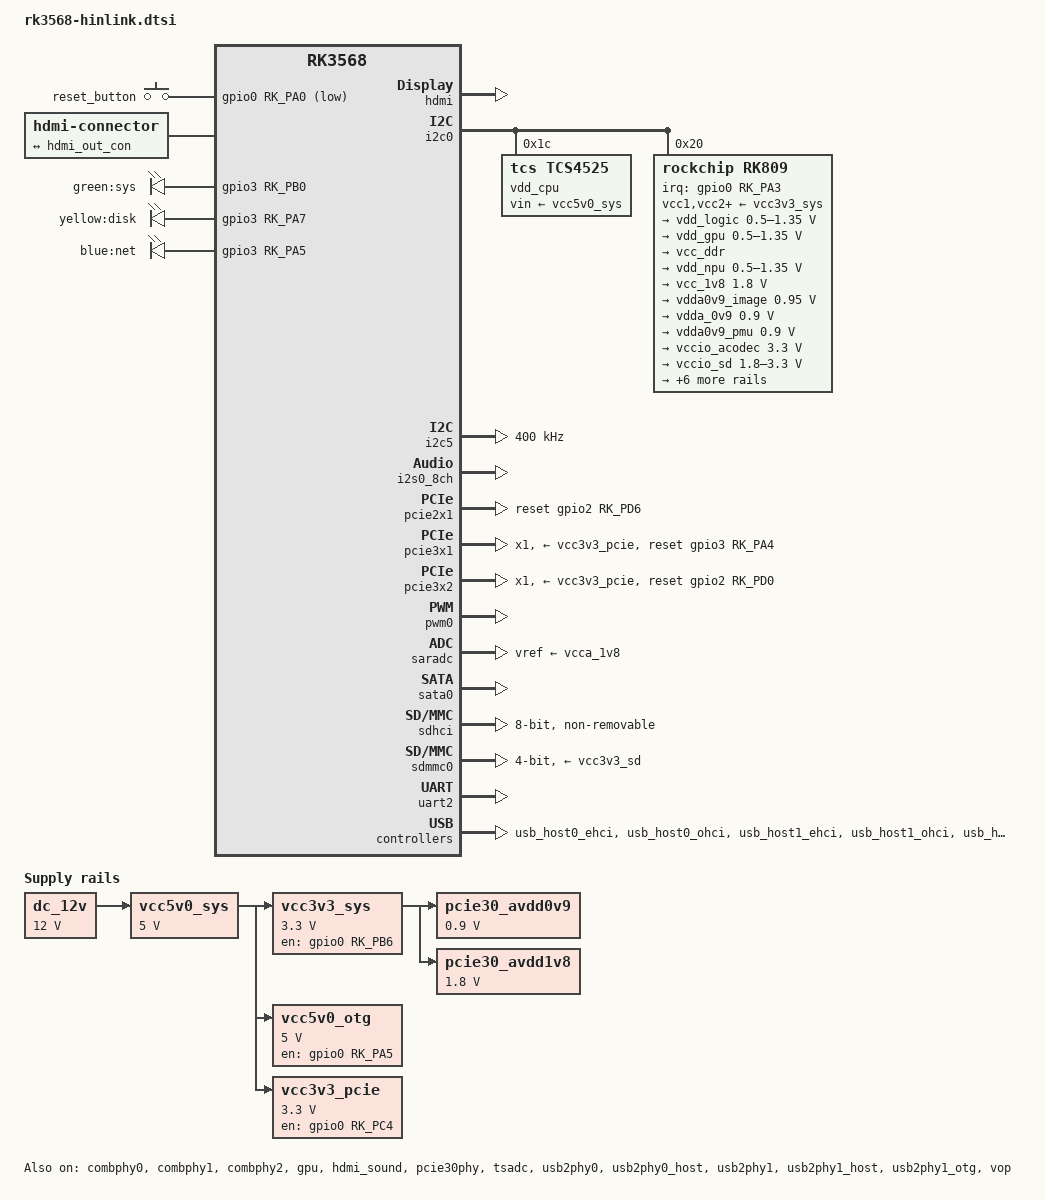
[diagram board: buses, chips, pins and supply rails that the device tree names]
// SPDX-License-Identifier: GPL-2.0-or-later OR MIT
/*
 * Copyright (c) 2020 Rockchip Electronics Co., Ltd.
 *
 */

/dts-v1/;
#include <dt-bindings/gpio/gpio.h>
#include <dt-bindings/input/input.h>
#include <dt-bindings/leds/common.h>
#include <dt-bindings/pinctrl/rockchip.h>
#include <dt-bindings/soc/rockchip,vop2.h>
#include <rockchip/rk3568.dtsi>
#include "rk3568-ip.dtsi"

/ {
	aliases {
		mmc0 = &sdmmc0;
		mmc1 = &sdhci;

		led-boot = &led_green;
		led-failsafe = &led_green;
		led-running = &led_green;
		led-upgrade = &led_green;
	};

	chosen: chosen {
		stdout-path = "serial2:1500000n8";
	};

	dc_12v: dc-12v {
		compatible = "regulator-fixed";
		regulator-name = "dc_12v";
		regulator-always-on;
		regulator-boot-on;
		regulator-min-microvolt = <12000000>;
		regulator-max-microvolt = <12000000>;
	};

	vcc5v0_sys: vcc5v0-sys {
		compatible = "regulator-fixed";
		regulator-name = "vcc5v0_sys";
		regulator-always-on;
		regulator-boot-on;
		regulator-min-microvolt = <5000000>;
		regulator-max-microvolt = <5000000>;
		vin-supply = <&dc_12v>;
	};

	vcc3v3_sys: vcc3v3-sys {
		compatible = "regulator-fixed";
		regulator-name = "vcc3v3_sys";
		regulator-always-on;
		regulator-boot-on;
		regulator-min-microvolt = <3300000>;
		regulator-max-microvolt = <3300000>;
		enable-active-high;
		gpio = <&gpio0 RK_PB6 GPIO_ACTIVE_HIGH>;
		pinctrl-names = "default";
		pinctrl-0 = <&vcc3v3_sys_en>;
		vin-supply = <&vcc5v0_sys>;
	};

	vcc5v0_otg: vcc5v0-otg-regulator {
		compatible = "regulator-fixed";
		regulator-name = "vcc5v0_otg";
		regulator-min-microvolt = <5000000>;
		regulator-max-microvolt = <5000000>;
		enable-active-high;
		gpio = <&gpio0 RK_PA5 GPIO_ACTIVE_HIGH>;
		vin-supply = <&vcc5v0_sys>;
		pinctrl-names = "default";
		pinctrl-0 = <&vcc5v0_otg_en>;
	};

	pcie30_avdd0v9: pcie30-avdd0v9 {
		compatible = "regulator-fixed";
		regulator-name = "pcie30_avdd0v9";
		regulator-always-on;
		regulator-boot-on;
		regulator-min-microvolt = <900000>;
		regulator-max-microvolt = <900000>;
		vin-supply = <&vcc3v3_sys>;
	};

	pcie30_avdd1v8: pcie30-avdd1v8 {
		compatible = "regulator-fixed";
		regulator-name = "pcie30_avdd1v8";
		regulator-always-on;
		regulator-boot-on;
		regulator-min-microvolt = <1800000>;
		regulator-max-microvolt = <1800000>;
		vin-supply = <&vcc3v3_sys>;
	};

	vcc3v3_pcie: vcc3v3-pcie {
		compatible = "regulator-fixed";
		regulator-name = "vcc3v3_pcie";
		regulator-min-microvolt = <3300000>;
		regulator-max-microvolt = <3300000>;
		enable-active-high;
		gpio = <&gpio0 RK_PC4 GPIO_ACTIVE_HIGH>;
		startup-delay-us = <5000>;
		vin-supply = <&vcc5v0_sys>;
	};

	gpio-keys {
		compatible = "gpio-keys";
		pinctrl-names = "default";
		pinctrl-0 = <&reset_button>;

		button@1 {
			label = "reset_button";
			linux,code = <KEY_RESTART>;
			gpios = <&gpio0 RK_PA0 GPIO_ACTIVE_LOW>;
			linux,input-type = <1>;
			debounce-interval = <60>;
		};
	};

	hdmi-con {
		compatible = "hdmi-connector";
		type = "a";

		port {
			hdmi_con_in: endpoint {
				remote-endpoint = <&hdmi_out_con>;
			};
		};
	};

	leds {
		compatible = "gpio-leds";
		pinctrl-names = "default";
		pinctrl-0 =
			<&led_green_en>,
			<&led_yellow_en>,
			<&led_blue_en>;

		led_green: green {
			gpios = <&gpio3 RK_PB0 GPIO_ACTIVE_HIGH>;
			label = "green:sys";
			linux,default-trigger = "heartbeat";
		};
		led_yellow: yellow {
			gpios = <&gpio3 RK_PA7 GPIO_ACTIVE_HIGH>;
			label = "yellow:disk";
		};
		led_blue: blue {
			gpios = <&gpio3 RK_PA5 GPIO_ACTIVE_HIGH>;
			label = "blue:net";
		};
	};

};

&combphy0 {
	rockchip,dis-u3otg0-port; /* disable USB3.0 */
	status = "okay";
};

&combphy1 {
	status = "okay";
};

&combphy2 {
	status = "okay";
};

&cpu0 {
	cpu-supply = <&vdd_cpu>;
};

&cpu1 {
	cpu-supply = <&vdd_cpu>;
};

&cpu2 {
	cpu-supply = <&vdd_cpu>;
};

&cpu3 {
	cpu-supply = <&vdd_cpu>;
};

&gpu {
	power-off-delay-ms = <200>;
	mali-supply = <&vdd_gpu>;
	status = "okay";
};

&hdmi {
	avdd-0v9-supply = <&vdda0v9_image>;
	avdd-1v8-supply = <&vcca1v8_image>;
	status = "okay";
};

&hdmi_in {
	hdmi_in_vp0: endpoint {
		remote-endpoint = <&vp0_out_hdmi>;
	};
};

&hdmi_out {
	hdmi_out_con: endpoint {
		remote-endpoint = <&hdmi_con_in>;
	};
};

&hdmi_sound {
	status = "okay";
};

&i2c0 {
	status = "okay";

	vdd_cpu: regulator@1c {
		compatible = "tcs,tcs4525";
		reg = <0x1c>;
		fcs,suspend-voltage-selector = <1>;
		regulator-name = "vdd_cpu";
		regulator-always-on;
		regulator-boot-on;
		regulator-min-microvolt = <800000>;
		regulator-max-microvolt = <1150000>;
		regulator-ramp-delay = <2300>;
		vin-supply = <&vcc5v0_sys>;

		regulator-state-mem {
			regulator-off-in-suspend;
		};
	};

	rk809: pmic@20 {
		compatible = "rockchip,rk809";
		reg = <0x20>;
		interrupt-parent = <&gpio0>;
		interrupts = <RK_PA3 IRQ_TYPE_LEVEL_LOW>;
		#clock-cells = <1>;
		pinctrl-names = "default";
		pinctrl-0 = <&pmic_int>;
		rockchip,system-power-controller;
		vcc1-supply = <&vcc3v3_sys>;
		vcc2-supply = <&vcc3v3_sys>;
		vcc3-supply = <&vcc3v3_sys>;
		vcc4-supply = <&vcc3v3_sys>;
		vcc5-supply = <&vcc3v3_sys>;
		vcc6-supply = <&vcc3v3_sys>;
		vcc7-supply = <&vcc3v3_sys>;
		vcc8-supply = <&vcc3v3_sys>;
		vcc9-supply = <&vcc3v3_sys>;
		wakeup-source;

		regulators {
			vdd_logic: DCDC_REG1 {
				regulator-name = "vdd_logic";
				regulator-always-on;
				regulator-boot-on;
				regulator-initial-mode = <0x2>;
				regulator-min-microvolt = <500000>;
				regulator-max-microvolt = <1350000>;
				regulator-ramp-delay = <6001>;

				regulator-state-mem {
					regulator-off-in-suspend;
				};
			};

			vdd_gpu: DCDC_REG2 {
				regulator-name = "vdd_gpu";
				regulator-always-on;
				regulator-initial-mode = <0x2>;
				regulator-min-microvolt = <500000>;
				regulator-max-microvolt = <1350000>;
				regulator-ramp-delay = <6001>;

				regulator-state-mem {
					regulator-off-in-suspend;
				};
			};

			vcc_ddr: DCDC_REG3 {
				regulator-name = "vcc_ddr";
				regulator-always-on;
				regulator-boot-on;
				regulator-initial-mode = <0x2>;

				regulator-state-mem {
					regulator-on-in-suspend;
				};
			};

			vdd_npu: DCDC_REG4 {
				regulator-name = "vdd_npu";
				regulator-initial-mode = <0x2>;
				regulator-min-microvolt = <500000>;
				regulator-max-microvolt = <1350000>;
				regulator-ramp-delay = <6001>;

				regulator-state-mem {
					regulator-off-in-suspend;
				};
			};

			vcc_1v8: DCDC_REG5 {
				regulator-name = "vcc_1v8";
				regulator-always-on;
				regulator-boot-on;
				regulator-min-microvolt = <1800000>;
				regulator-max-microvolt = <1800000>;

				regulator-state-mem {
					regulator-off-in-suspend;
				};
			};

			vdda0v9_image: LDO_REG1 {
				regulator-name = "vdda0v9_image";
				regulator-min-microvolt = <950000>;
				regulator-max-microvolt = <950000>;

				regulator-state-mem {
					regulator-off-in-suspend;
				};
			};

			vdda_0v9: LDO_REG2 {
				regulator-name = "vdda_0v9";
				regulator-always-on;
				regulator-boot-on;
				regulator-min-microvolt = <900000>;
				regulator-max-microvolt = <900000>;

				regulator-state-mem {
					regulator-off-in-suspend;
				};
			};

			vdda0v9_pmu: LDO_REG3 {
				regulator-name = "vdda0v9_pmu";
				regulator-always-on;
				regulator-boot-on;
				regulator-min-microvolt = <900000>;
				regulator-max-microvolt = <900000>;

				regulator-state-mem {
					regulator-on-in-suspend;
					regulator-suspend-microvolt = <900000>;
				};
			};

			vccio_acodec: LDO_REG4 {
				regulator-name = "vccio_acodec";
				regulator-min-microvolt = <3300000>;
				regulator-max-microvolt = <3300000>;

				regulator-state-mem {
					regulator-off-in-suspend;
				};
			};

			vccio_sd: LDO_REG5 {
				regulator-name = "vccio_sd";
				regulator-min-microvolt = <1800000>;
				regulator-max-microvolt = <3300000>;

				regulator-state-mem {
					regulator-off-in-suspend;
				};
			};

			vcc3v3_pmu: LDO_REG6 {
				regulator-name = "vcc3v3_pmu";
				regulator-always-on;
				regulator-boot-on;
				regulator-min-microvolt = <3300000>;
				regulator-max-microvolt = <3300000>;

				regulator-state-mem {
					regulator-on-in-suspend;
					regulator-suspend-microvolt = <3300000>;
				};
			};

			vcca_1v8: LDO_REG7 {
				regulator-name = "vcca_1v8";
				regulator-always-on;
				regulator-boot-on;
				regulator-min-microvolt = <1800000>;
				regulator-max-microvolt = <1800000>;

				regulator-state-mem {
					regulator-off-in-suspend;
				};
			};

			vcca1v8_pmu: LDO_REG8 {
				regulator-name = "vcca1v8_pmu";
				regulator-always-on;
				regulator-boot-on;
				regulator-min-microvolt = <1800000>;
				regulator-max-microvolt = <1800000>;

				regulator-state-mem {
					regulator-on-in-suspend;
					regulator-suspend-microvolt = <1800000>;
				};
			};

			vcca1v8_image: LDO_REG9 {
				regulator-name = "vcca1v8_image";
				regulator-min-microvolt = <1800000>;
				regulator-max-microvolt = <1800000>;

				regulator-state-mem {
					regulator-off-in-suspend;
				};
			};

			vcc_3v3: SWITCH_REG1 {
				regulator-name = "vcc_3v3";
				regulator-always-on;
				regulator-boot-on;

				regulator-state-mem {
					regulator-off-in-suspend;
				};
			};

			vcc3v3_sd: SWITCH_REG2 {
				regulator-name = "vcc3v3_sd";
				regulator-always-on;
				regulator-boot-on;

				regulator-state-mem {
					regulator-off-in-suspend;
				};
			};
		};

	};
};

&i2c5 {
	status = "okay";
	i2c-scl-rising-time-ns = <160>;
	i2c-scl-falling-time-ns = <30>;
	clock-frequency = <400000>;
};

&i2s0_8ch {
	status = "okay";
};

&pcie2x1 {
	reset-gpios = <&gpio2 RK_PD6 GPIO_ACTIVE_HIGH>;
	status = "okay";
};

&pcie30phy {
	data-lanes = <1 2>;
	status = "okay";
};

&pcie3x1 {
	num-lanes = <1>;
	reset-gpios = <&gpio3 RK_PA4 GPIO_ACTIVE_HIGH>;
	vpcie3v3-supply = <&vcc3v3_pcie>;
	status = "okay";
};

&pcie3x2 {
	num-lanes = <1>;
	rockchip,init-delay-ms = <100>;
	reset-gpios = <&gpio2 RK_PD0 GPIO_ACTIVE_HIGH>;
	vpcie3v3-supply = <&vcc3v3_pcie>;
	status = "okay";
};

&pinctrl {

	leds {
		led_green_en: led-green-en {
			rockchip,pins =
				<3 RK_PB0 RK_FUNC_GPIO &pcfg_pull_none>;
		};
		led_yellow_en: led-yellow-en {
			rockchip,pins =
				<3 RK_PA7 RK_FUNC_GPIO &pcfg_pull_none>;
		};
		led_blue_en: led-blue-en {
			rockchip,pins =
				<3 RK_PA5 RK_FUNC_GPIO &pcfg_pull_none>;
		};
	};

	keys {
		reset_button: reset-button {
			rockchip,pins =
				<0 RK_PA0 RK_FUNC_GPIO &pcfg_pull_up>;
		};
	};

	pmic {
		pmic_int: pmic-int {
			rockchip,pins = <0 RK_PA3 RK_FUNC_GPIO &pcfg_pull_up>;
		};
	};

	usb {
		vcc5v0_otg_en: vcc5v0-otg-en {
			rockchip,pins = <0 RK_PA5 RK_FUNC_GPIO &pcfg_pull_none>;
		};
	};

	vcc {
		vcc3v3_sys_en: vcc3v3-sys-en {
			rockchip,pins = <0 RK_PB6 RK_FUNC_GPIO &pcfg_pull_none>;
		};
	};
};

&pmu_io_domains {
	pmuio1-supply = <&vcc3v3_pmu>;
	pmuio2-supply = <&vcc3v3_pmu>;
	vccio1-supply = <&vccio_acodec>;
	vccio3-supply = <&vccio_sd>;
	vccio4-supply = <&vcc_1v8>;
	vccio5-supply = <&vcc_3v3>;
	vccio6-supply = <&vcc_1v8>;
	vccio7-supply = <&vcc_3v3>;
	status = "okay";
};

&pwm0 {
	status = "okay";
};

&saradc {
	vref-supply = <&vcca_1v8>;
	status = "okay";
};

&sata0 {
	status = "okay";
};

&sdhci {
	bus-width = <8>;
	max-frequency = <200000000>;
	non-removable;
	pinctrl-names = "default";
	pinctrl-0 = <&emmc_bus8 &emmc_clk &emmc_cmd>;
	status = "okay";
};

&sdmmc0 {
	max-frequency = <150000000>;
	no-sdio;
	no-mmc;
	bus-width = <4>;
	cap-mmc-highspeed;
	cap-sd-highspeed;
	disable-wp;
	vmmc-supply = <&vcc3v3_sd>;
	vqmmc-supply = <&vccio_sd>;
	pinctrl-names = "default";
	pinctrl-0 = <&sdmmc0_bus4 &sdmmc0_clk &sdmmc0_cmd &sdmmc0_det>;
	status = "okay";
};

&tsadc {
	rockchip,hw-tshut-mode = <1>;
	rockchip,hw-tshut-polarity = <0>;
	status = "okay";
};

&uart2 {
	status = "okay";
};

&usb_host0_ehci {
	status = "okay";
};

&usb_host0_ohci {
	status = "okay";
};

/* MULTI_PHY0 For SATA0, USB3.0 OTG Only USB2.0 */
&usb_host0_xhci {
	phys = <&usb2phy0_otg>;
	phy-names = "usb2-phy";
	extcon = <&usb2phy0>;
	maximum-speed = "high-speed";
	dr_mode = "host";
	status = "disabled";
};

&usb_host1_ehci {
	status = "okay";
};

&usb_host1_ohci {
	status = "okay";
};

&usb_host1_xhci {
	status = "okay";
};

&usb2phy0 {
	status = "okay";
};

&usb2phy0_host {
	phy-supply = <&vcc5v0_otg>;
	status = "okay";
};

&usb2phy0_otg {
	phy-supply = <&vcc5v0_otg>;
	status = "disabled";
};

&usb2phy1 {
	status = "okay";
};

&usb2phy1_host {
	phy-supply = <&vcc5v0_otg>;
	status = "okay";
};

&usb2phy1_otg {
	phy-supply = <&vcc5v0_otg>;
	status = "okay";
};

&vop {
	assigned-clocks = <&cru DCLK_VOP0>, <&cru DCLK_VOP1>;
	assigned-clock-parents = <&pmucru PLL_HPLL>, <&cru PLL_VPLL>;
	status = "okay";
};

&vop_mmu {
	status = "okay";
};

&vp0 {
	vp0_out_hdmi: endpoint@ROCKCHIP_VOP2_EP_HDMI0 {
		reg = <ROCKCHIP_VOP2_EP_HDMI0>;
		remote-endpoint = <&hdmi_in_vp0>;
	};
};

#include "rk3568-ip-rk809.dtsi"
